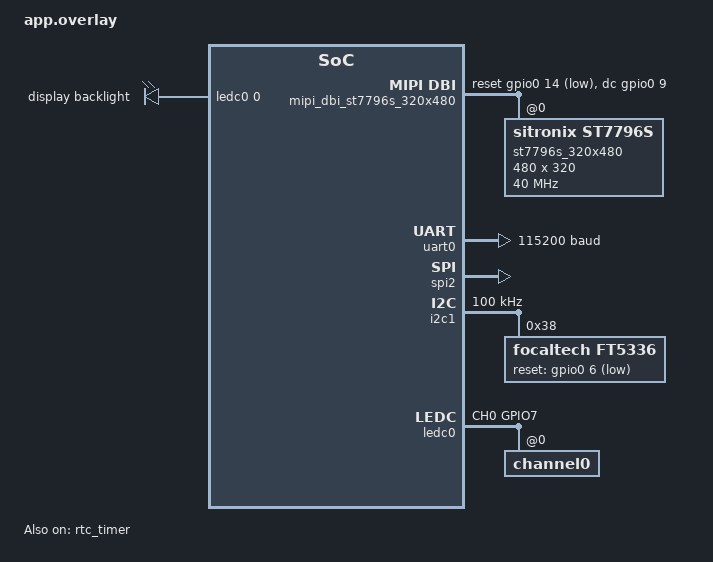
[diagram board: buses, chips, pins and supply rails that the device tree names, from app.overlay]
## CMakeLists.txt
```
# SPDX-License-Identifier: Apache-2.0

cmake_minimum_required(VERSION 3.20.0)
find_package(Zephyr REQUIRED HINTS $ENV{ZEPHYR_BASE})
project(THWM)

add_compile_definitions(LV_LVGL_H_INCLUDE_SIMPLE)

target_sources(app PRIVATE src/main.c)

target_sources(app PRIVATE
${CMAKE_CURRENT_LIST_DIR}/src/core/system/backlight.cpp
${CMAKE_CURRENT_LIST_DIR}/src/core/system/event_machine.cpp
${CMAKE_CURRENT_LIST_DIR}/src/core/system/param_machine.cpp
${CMAKE_CURRENT_LIST_DIR}/src/core/ui/ui.cpp
${CMAKE_CURRENT_LIST_DIR}/src/core/ui/styles/style_manager.cpp
${CMAKE_CURRENT_LIST_DIR}/src/core/ui/screens/screen_manager.cpp
${CMAKE_CURRENT_LIST_DIR}/src/core/ui/screens/main_screen/main_screen.cpp
${CMAKE_CURRENT_LIST_DIR}/src/core/ui/screens/settings/settings_screen.cpp
${CMAKE_CURRENT_LIST_DIR}/src/core/ui/screens/settings/wifi_screen/wifi_screen.cpp
${CMAKE_CURRENT_LIST_DIR}/src/core/ui/screens/logo/logo_screen.cpp
${CMAKE_CURRENT_LIST_DIR}/src/core/ui/icons/weather_logo.c
)

target_include_directories(app PRIVATE
${CMAKE_CURRENT_LIST_DIR}/src/core
${CMAKE_CURRENT_LIST_DIR}/src/core/system
${CMAKE_CURRENT_LIST_DIR}/src/core/ui
${CMAKE_CURRENT_LIST_DIR}/src/core/ui/styles
${CMAKE_CURRENT_LIST_DIR}/src/core/ui/screens
${CMAKE_CURRENT_LIST_DIR}/src/core/ui/screens/main_screen
${CMAKE_CURRENT_LIST_DIR}/src/core/ui/screens/settings
${CMAKE_CURRENT_LIST_DIR}/src/core/ui/screens/settings/wifi_screen
${CMAKE_CURRENT_LIST_DIR}/src/core/ui/screens/logo
)
```

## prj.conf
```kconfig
CONFIG_CPP=y
CONFIG_GLIBCXX_LIBCPP=y

CONFIG_ESP_SPIRAM=y
CONFIG_SPIRAM_MODE_OCT=y

CONFIG_LV_Z_MEM_POOL_SIZE=65536
CONFIG_MAIN_STACK_SIZE=2048

CONFIG_DISPLAY=y
CONFIG_ESP32_SPIM=y
CONFIG_DMA=y
CONFIG_INPUT=y
CONFIG_DISPLAY_LOG_LEVEL_ERR=y

CONFIG_LOG=y

CONFIG_LVGL=y
CONFIG_LV_USE_LOG=y
CONFIG_LV_FONT_MONTSERRAT_14=y
CONFIG_LV_COLOR_16_SWAP=y
#CONFIG_LV_USE_PERF_MONITOR=y
#CONFIG_LV_USE_SYSMON=y
CONFIG_LV_DEF_REFR_PERIOD=25
CONFIG_LV_Z_DOUBLE_VDB=y
CONFIG_LV_Z_VDB_SIZE=10
CONFIG_LV_Z_FLUSH_THREAD=y

CONFIG_NEWLIB_LIBC=y
CONFIG_NEWLIB_LIBC_FLOAT_PRINTF=y

CONFIG_COUNTER=y  
CONFIG_RTC=y  

CONFIG_GPIO=y
CONFIG_PWM=y

CONFIG_SERIAL=y
CONFIG_UART_INTERRUPT_DRIVEN=y
CONFIG_CONSOLE=y
CONFIG_UART_CONSOLE=y

CONFIG_UART_LINE_CTRL=y

CONFIG_NVS=y
CONFIG_FLASH=y
CONFIG_MPU_ALLOW_FLASH_WRITE=y

CONFIG_WIFI=y
CONFIG_ESP32_WIFI_STA_AUTO_DHCPV4=y
CONFIG_WIFI_NM=y
CONFIG_NET_CONNECTION_MANAGER=y
CONFIG_NET_DHCPV4=y
CONFIG_NET_IPV4=y
CONFIG_NET_L2_WIFI_MGMT=y
CONFIG_NET_DEFAULT_IF_FIRST=y
CONFIG_NET_MGMT=y
CONFIG_NET_MGMT_EVENT=y
CONFIG_NET_MGMT_EVENT_INFO=y
CONFIG_NET_MGMT_EVENT_QUEUE_SIZE=10
CONFIG_NET_MGMT_EVENT_STACK_SIZE=4096
CONFIG_NET_PKT_RX_COUNT=16
CONFIG_NET_PKT_TX_COUNT=16
CONFIG_NET_SOCKETS_SERVICE_STACK_SIZE=4096
CONFIG_NET_TCP=y
CONFIG_NET_UDP=y
CONFIG_NETWORKING=y
CONFIG_TEST_RANDOM_GENERATOR=y

CONFIG_DEBUG=y
CONFIG_NET_LOG=y
CONFIG_WIFI_LOG_LEVEL_DBG=y
```

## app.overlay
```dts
#include <zephyr/dt-bindings/mipi_dbi/mipi_dbi.h>
#include <zephyr/dt-bindings/pwm/pwm.h>

/ {
	chosen {
		zephyr,display = &st7796s_320x480;
		zephyr,console = &uart0;
		zephyr,shell-uart = &uart0;
	};

	lvgl_pointer {
		compatible = "zephyr,lvgl-pointer-input";
		input = <&ft5336>;
		invert-y;
	};

    backlight_leds: backlight_leds {
		compatible = "pwm-leds";
		display_back_led: display_back_led_0 {
			pwms = <&ledc0 0 PWM_MSEC(5) PWM_POLARITY_NORMAL>;
			label = "display backlight";
		};
	};

    aliases {
		backlight0 = &display_back_led;
		uart-0 = &uart0;
	};

	mipi_dbi_st7796s_320x480 {
		compatible = "zephyr,mipi-dbi-spi";
		spi-dev = <&spi2>;
		dc-gpios = <&gpio0 9 GPIO_ACTIVE_HIGH>;	/* 9 */
		reset-gpios = <&gpio0 14 GPIO_ACTIVE_LOW>;	/* 14 */
		write-only;
		#address-cells = <1>;
		#size-cells = <0>;

		st7796s_320x480: st7796s@0 {
			compatible = "sitronix,st7796s";
			mipi-max-frequency = <40000000>;
			reg = <0>;
			width = <480>;
			height = <320>;
            vcmpctl = <0x0A>;
            madctl = <0x28>;
            pwr1 = [80 45];
            pwr2 = <0x13>;
            pwr3 = <0xA7>;
            doca = [40 8A 00 00 29 19 A5 33];
			pgc = [D0 08 0F 06 06 33 30 33 47 17 13 13 2B 31];
            ngc = [D0 0A 11 0B 09 07 2F 33 47 38 15 16 2C 32];
			color-invert;
		};
	};
};

&uart0 {
	status = "okay";
	current-speed = <115200>;
	pinctrl-0 = <&uart0_default>;
	pinctrl-names = "default";
};

&dma {
	status = "okay";
};

&spi2 {
	status = "okay";
	#address-cells = <1>;
	#size-cells = <0>;
	pinctrl-0 = <&spim2_default>;
	pinctrl-names = "default";
	cs-gpios = <&gpio0 10 GPIO_ACTIVE_LOW>;
};

&i2c1 {
	status = "okay";
	clock-frequency = <I2C_BITRATE_STANDARD>;
	pinctrl-0 = <&i2c1_default>;
	pinctrl-names = "default";
	ft5336: ft5336@38 {
		compatible = "focaltech,ft5336";
		reg = <0x38>;
		reset-gpios = <&gpio0 6 GPIO_ACTIVE_LOW>;
	};
};

&ledc0 {  
	#address-cells = <1>; 
    #size-cells = <0>; 
    pinctrl-0 = <&ledc0_default>;  
    pinctrl-names = "default";  
    status = "okay";  
      
    channel0@0 {  
        reg = <0x0>;  
        timer = <0>;  
    };  
};

&pinctrl {  
    ledc0_default: ledc0_default {  
        group1 {  
            pinmux = <LEDC_CH0_GPIO7>;
            output-enable;  
        };  
    };  
};

&rtc_timer {  
    status = "okay";  
};

/* 16MB flash */
&flash0 {
	reg = <0x0 DT_SIZE_M(16)>;
};

/* 8MB psram */
&psram0 {
	size = <DT_SIZE_M(8)>;
};
```

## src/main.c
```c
#include <zephyr/kernel.h>
#include <zephyr/logging/log.h>

#include "backlight.h"
#include "ui.h"

LOG_MODULE_REGISTER(MAIN);

k_tid_t backlight_tid;
K_THREAD_STACK_DEFINE(backlight_thread_stack_area, 1024);
struct k_thread backlight_thread_data;

k_tid_t ui_tid;
K_THREAD_STACK_DEFINE(ui_thread_stack_area, 8192);
struct k_thread ui_thread_data;

int main(void)
{	
	LOG_INF("Starting threads");

	backlight_tid = k_thread_create(&backlight_thread_data,
								backlight_thread_stack_area,
								K_THREAD_STACK_SIZEOF(backlight_thread_stack_area),
								backlight_thread,
								NULL, NULL, NULL,
								5, 0, K_NO_WAIT);
	LOG_INF("Created backlight thread");

	ui_tid = k_thread_create(&ui_thread_data,
								ui_thread_stack_area,
								K_THREAD_STACK_SIZEOF(ui_thread_stack_area),
								ui_thread,
								NULL, NULL, NULL,
								5, 0, K_NO_WAIT);
	LOG_INF("Created UI thread");

	LOG_INF("Aborting from main");

	return 0;
}
```

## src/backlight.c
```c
#include "backlight.h"

#include <zephyr/kernel.h>
#include <zephyr/device.h>
#include <zephyr/devicetree.h>
#include <zephyr/drivers/pwm.h>

#define DISPLAY_LED_NODE DT_ALIAS(backlight0)

static const struct pwm_dt_spec display_backlight = PWM_DT_SPEC_GET(DISPLAY_LED_NODE);

void
backlight_task() {
    set_brightness(100);

    while(1) {
        k_sleep(K_MSEC(1000));
    }

}

void
set_brightness(uint8_t brightness) {
    if (pwm_is_ready_dt(&display_backlight)) {
        pwm_set_pulse_dt(&display_backlight, display_backlight.period*brightness/100);
    }
}


K_THREAD_DEFINE(backlight_task0, 1024, backlight_task, NULL, NULL, NULL,
		7, 0, 0);
```

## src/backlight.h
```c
#ifndef __BACKLIGHT_H
#define __BACKLIGHT_H

#include <stdint.h>

void set_brightness(uint8_t brightness);

#endif
```
